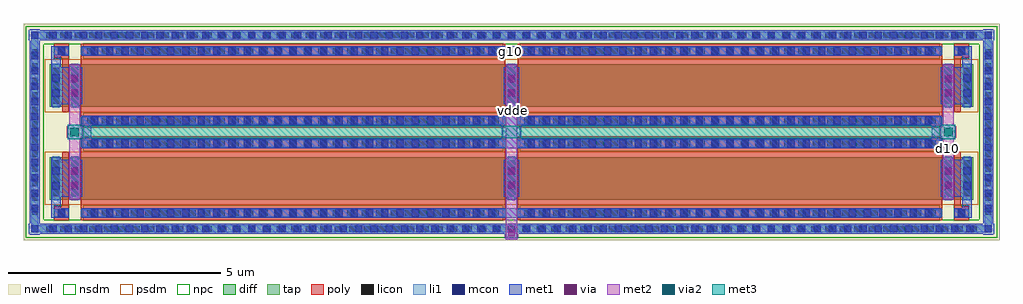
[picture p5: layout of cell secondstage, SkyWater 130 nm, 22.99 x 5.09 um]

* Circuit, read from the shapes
.subckt secondstage d10 g10 vdde
XM1 d10 d10 d10 vdde sky130_fd_pr__pfet_01v8 w=1 l=0.15 m=4
XM2 vdde g10 d10 vdde sky130_fd_pr__pfet_01v8 w=1 l=10 m=4
.ends

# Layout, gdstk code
import gdstk
lib = gdstk.Library(unit=1e-6, precision=1e-09)
def R(c, l, rs):  # rectangles x0, y0, x1, y1
    for r in rs: c.add(gdstk.rectangle(r[:2], r[2:], *l))
def A(c, l, x, y, w, h, nx, ny, dx, dy):  # array of equal rectangles
    R(c, l, [(x+i*dx, y+j*dy, x+i*dx+w, y+j*dy+h) for i in range(nx) for j in range(ny)])
nwell = (64, 20)
diff = (65, 20)
tap = (65, 44)
poly = (66, 20)
licon = (66, 44)
li1 = (67, 20)
mcon = (67, 44)
met1 = (68, 20)
via = (68, 44)
met2 = (69, 20)
via2 = (69, 44)
met3 = (70, 20)
nsdm = (93, 44)
psdm = (94, 20)
npc = (95, 20)

sky130_fd_pr__pfet_01v8_ = lib.new_cell('sky130_fd_pr__pfet_01v8_P4G5X4')
R(sky130_fd_pr__pfet_01v8_, nwell, [(-0.545,-0.81,0.545,0.81)])
R(sky130_fd_pr__pfet_01v8_, diff, [(-0.365,-0.5,0.365,0.5)])
R(sky130_fd_pr__pfet_01v8_, poly, [(-0.075,-0.63,0.075,0.63)])
A(sky130_fd_pr__pfet_01v8_, licon, -0.305, -0.425, 0.17, 0.17, 1, 3, 0, 0.34)
A(sky130_fd_pr__pfet_01v8_, licon, 0.135, -0.425, 0.17, 0.17, 1, 3, 0, 0.34)
R(sky130_fd_pr__pfet_01v8_, li1, [(-0.305,-0.52,-0.135,0.52), (0.135,-0.52,0.305,0.52)])
R(sky130_fd_pr__pfet_01v8_, mcon, [(-0.305,-0.265,-0.135,-0.095), (0.135,-0.265,0.305,-0.095), (-0.305,0.095,-0.135,0.265), (0.135,0.095,0.305,0.265)])
R(sky130_fd_pr__pfet_01v8_, met1, [(-0.335,-0.5,-0.105,0.5), (0.105,-0.5,0.335,0.5)])
R(sky130_fd_pr__pfet_01v8_, psdm, [(-0.49,-0.625,0.49,0.625)])
sky130_fd_pr__pfet_01v8_.add(gdstk.Label('D', (-0.22,0), layer=67, texttype=5))
sky130_fd_pr__pfet_01v8_.add(gdstk.Label('S', (0.22,0), layer=67, texttype=5))

c_sky130_fd_pr__pfet_01v8_ = lib.new_cell('sky130_fd_pr__pfet_01v8_LDV24K')
R(c_sky130_fd_pr__pfet_01v8_, nwell, [(-10.615,-2.09,10.615,-0.09), (-10.615,0.09,10.615,2.09)])
R(c_sky130_fd_pr__pfet_01v8_, diff, [(-10.435,-1.59,10.435,-0.59), (-10.435,0.59,10.435,1.59)])
R(c_sky130_fd_pr__pfet_01v8_, poly, [(-10.145,-2.075,-0.145,-0.105), (0.145,-2.075,10.145,-0.105), (-10.145,0.105,-0.145,2.075), (0.145,0.105,10.145,2.075)])
A(c_sky130_fd_pr__pfet_01v8_, licon, -9.99, -1.995, 0.17, 0.17, 29, 2, 0.34, 1.64)
A(c_sky130_fd_pr__pfet_01v8_, licon, 0.3, -1.995, 0.17, 0.17, 29, 2, 0.34, 1.64)
A(c_sky130_fd_pr__pfet_01v8_, licon, -10.375, -1.515, 0.17, 0.17, 3, 3, 10.29, 0.34)
A(c_sky130_fd_pr__pfet_01v8_, licon, -9.99, 0.185, 0.17, 0.17, 29, 2, 0.34, 1.64)
A(c_sky130_fd_pr__pfet_01v8_, licon, 0.3, 0.185, 0.17, 0.17, 29, 2, 0.34, 1.64)
A(c_sky130_fd_pr__pfet_01v8_, licon, -10.375, 0.665, 0.17, 0.17, 3, 3, 10.29, 0.34)
A(c_sky130_fd_pr__pfet_01v8_, li1, -10.375, -1.61, 0.17, 1.04, 3, 2, 10.29, 2.18)
R(c_sky130_fd_pr__pfet_01v8_, li1, [(-10.145,-1.995,-0.145,-1.825), (0.145,-1.995,10.145,-1.825), (-10.145,-0.355,-0.145,-0.185), (0.145,-0.355,10.145,-0.185), (-10.145,0.185,-0.145,0.355), (0.145,0.185,10.145,0.355), (-10.145,1.825,-0.145,1.995), (0.145,1.825,10.145,1.995)])
A(c_sky130_fd_pr__pfet_01v8_, mcon, -9.91, -1.995, 0.17, 0.17, 27, 2, 0.36, 1.64)
A(c_sky130_fd_pr__pfet_01v8_, mcon, 0.38, -1.995, 0.17, 0.17, 27, 2, 0.36, 1.64)
A(c_sky130_fd_pr__pfet_01v8_, mcon, -10.375, -1.355, 0.17, 0.17, 3, 2, 10.29, 0.36)
A(c_sky130_fd_pr__pfet_01v8_, mcon, -9.91, 0.185, 0.17, 0.17, 27, 2, 0.36, 1.64)
A(c_sky130_fd_pr__pfet_01v8_, mcon, 0.38, 0.185, 0.17, 0.17, 27, 2, 0.36, 1.64)
A(c_sky130_fd_pr__pfet_01v8_, mcon, -10.375, 0.825, 0.17, 0.17, 3, 2, 10.29, 0.36)
A(c_sky130_fd_pr__pfet_01v8_, met1, -10.405, -1.59, 0.23, 1, 3, 2, 10.29, 2.18)
R(c_sky130_fd_pr__pfet_01v8_, met1, [(-10.125,-2.025,-0.165,-1.795), (0.165,-2.025,10.125,-1.795), (-10.125,-0.385,-0.165,-0.155), (0.165,-0.385,10.125,-0.155), (-10.125,0.155,-0.165,0.385), (0.165,0.155,10.125,0.385), (-10.125,1.795,-0.165,2.025), (0.165,1.795,10.125,2.025)])
R(c_sky130_fd_pr__pfet_01v8_, psdm, [(-10.56,-1.715,10.56,-0.465), (-10.56,0.465,10.56,1.715)])
R(c_sky130_fd_pr__pfet_01v8_, npc, [(-10.09,-2.095,-0.2,-1.725), (0.2,-2.095,10.09,-1.725), (-10.09,-0.455,-0.2,0.455), (0.2,-0.455,10.09,0.455), (-10.09,1.725,-0.2,2.095), (0.2,1.725,10.09,2.095)])
c_sky130_fd_pr__pfet_01v8_.add(gdstk.Label('D0_0', (-10.29,-1.09), layer=67, texttype=5))
c_sky130_fd_pr__pfet_01v8_.add(gdstk.Label('G0_0', (-5.145,-0.27), layer=67, texttype=5))
c_sky130_fd_pr__pfet_01v8_.add(gdstk.Label('D0_1', (-10.29,1.09), layer=67, texttype=5))
c_sky130_fd_pr__pfet_01v8_.add(gdstk.Label('G0_1', (-5.145,1.91), layer=67, texttype=5))
c_sky130_fd_pr__pfet_01v8_.add(gdstk.Label('S1_0', (0,-1.09), layer=67, texttype=5))
c_sky130_fd_pr__pfet_01v8_.add(gdstk.Label('G1_0', (5.145,-0.27), layer=67, texttype=5))
c_sky130_fd_pr__pfet_01v8_.add(gdstk.Label('S1_1', (0,1.09), layer=67, texttype=5))
c_sky130_fd_pr__pfet_01v8_.add(gdstk.Label('G1_1', (5.145,1.91), layer=67, texttype=5))

secondstage = lib.new_cell('secondstage')
R(secondstage, nwell, [(-0.86,-0.445,22.13,4.645)])
R(secondstage, tap, [(-0.68,-0.265,21.95,-0.095), (-0.68,-0.095,-0.51,4.295), (21.78,-0.095,21.95,4.295), (-0.68,4.295,21.95,4.465)])
R(secondstage, poly, [(-0.13,0.025,0.2,0.355), (21.07,0.025,21.4,0.355), (0.05,0.355,0.2,0.465), (21.07,0.355,21.22,0.51), (21.07,3.69,21.22,3.845), (0.05,3.78,0.2,3.845), (-0.13,3.845,0.2,4.175), (21.07,3.845,21.4,4.175)])
A(secondstage, licon, -0.33, -0.265, 0.17, 0.17, 65, 2, 0.34, 4.56)
A(secondstage, licon, -0.68, 0.145, 0.17, 0.17, 1, 12, 0, 0.34)
A(secondstage, licon, 21.78, 0.145, 0.17, 0.17, 1, 12, 0, 0.34)
R(secondstage, licon, [(-0.05,0.105,0.12,0.275), (21.15,0.105,21.32,0.275), (-0.05,3.925,0.12,4.095), (21.15,3.925,21.32,4.095)])
R(secondstage, li1, [(-0.68,-0.265,21.95,-0.095), (-0.68,-0.095,-0.51,4.295), (21.78,-0.095,21.95,4.295), (-0.13,0.105,0.2,0.275), (21.07,0.105,21.4,0.275), (-0.13,3.925,0.2,4.095), (21.07,3.925,21.4,4.095), (-0.68,4.295,21.95,4.465)])
A(secondstage, mcon, -0.25, -0.265, 0.17, 0.17, 61, 2, 0.36, 4.56)
A(secondstage, mcon, -0.68, 0.215, 0.17, 0.17, 1, 11, 0, 0.36)
A(secondstage, mcon, 21.78, 0.215, 0.17, 0.17, 1, 11, 0, 0.36)
R(secondstage, mcon, [(-0.68,-0.265,-0.51,-0.095), (21.78,-0.265,21.95,-0.095), (-0.05,0.105,0.12,0.275), (21.15,0.105,21.32,0.275), (-0.05,3.925,0.12,4.095), (21.15,3.925,21.32,4.095), (-0.68,4.295,-0.51,4.465), (21.78,4.295,21.95,4.465)])
R(secondstage, met1, [(10.475,-0.405,10.795,-0.295), (-0.71,-0.325,-0.48,-0.295), (21.75,-0.325,21.98,-0.295), (-0.74,-0.295,22.01,-0.065), (-0.71,-0.065,-0.48,4.265), (21.75,-0.065,21.98,4.265), (-0.21,0.075,0.2,0.305), (10.42,0.075,10.91,0.305), (21.07,0.075,21.48,0.305), (-0.21,0.305,0.02,0.57), (21.25,0.305,21.48,0.51), (-0.21,0.57,0.525,1.45), (10.455,0.57,10.815,1.45), (20.745,0.57,21.405,1.45), (0.51,1.715,0.74,2.4), (10.41,1.715,10.86,2.485), (20.53,1.715,20.76,2.4), (-0.12,2.75,0.525,3.63), (10.455,2.75,10.815,3.63), (20.745,2.75,21.34,3.63), (-0.21,3.655,0.02,3.895), (21.25,3.69,21.48,3.895), (-0.21,3.895,0.2,4.125), (10.37,3.895,10.86,4.125), (21.07,3.895,21.48,4.125), (-0.74,4.265,22.01,4.495), (-0.71,4.495,-0.48,4.525), (21.75,4.495,21.98,4.525)])
A(secondstage, via, 0.27, 0.775, 0.15, 0.15, 3, 2, 10.29, 0.32)
A(secondstage, via, 0.27, 2.955, 0.15, 0.15, 3, 2, 10.29, 0.32)
R(secondstage, via, [(10.56,-0.35,10.71,-0.2)])
R(secondstage, met2, [(10.505,-0.435,10.765,3.68), (0.215,0.52,0.475,1.96), (20.795,0.52,21.055,1.96), (0.16,1.96,0.53,2.24), (20.74,1.96,21.11,2.24), (0.215,2.24,0.475,3.68), (20.795,2.24,21.055,3.68)])
R(secondstage, via2, [(0.245,2,0.445,2.2), (20.825,2,21.025,2.2)])
R(secondstage, met3, [(0.18,1.935,0.51,1.95), (20.76,1.935,21.09,1.95), (0.18,1.95,21.09,2.25), (0.18,2.25,0.51,2.265), (20.76,2.25,21.09,2.265)])
R(secondstage, nsdm, [(-0.805,-0.39,22.075,0.03), (-0.805,0.03,-0.385,4.17), (21.655,0.03,22.075,4.17), (-0.805,4.17,22.075,4.59)])
R(secondstage, npc, [(-0.15,0.005,0.22,0.375), (21.05,0.005,21.42,0.375), (-0.15,3.825,0.22,4.195), (21.05,3.825,21.42,4.195)])
secondstage.add(gdstk.Reference(sky130_fd_pr__pfet_01v8_, (0.125,3.19)))
secondstage.add(gdstk.Reference(sky130_fd_pr__pfet_01v8_, (0.125,1.01)))
secondstage.add(gdstk.Reference(sky130_fd_pr__pfet_01v8_, (21.145,1.01)))
secondstage.add(gdstk.Reference(sky130_fd_pr__pfet_01v8_, (21.145,3.19)))
secondstage.add(gdstk.Reference(c_sky130_fd_pr__pfet_01v8_, (10.635,2.1)))
secondstage.add(gdstk.Label('g10', (10.6,3.985), layer=68, texttype=5))
secondstage.add(gdstk.Label('vdde', (10.665,2.595), layer=69, texttype=5))
secondstage.add(gdstk.Label('d10', (20.91,1.7), layer=69, texttype=5))

lib.write_gds('secondstage.gds')
